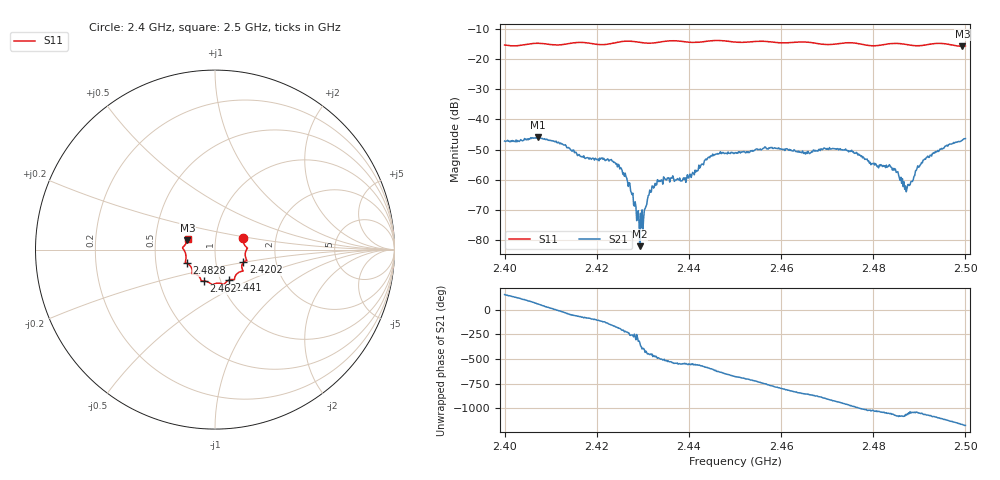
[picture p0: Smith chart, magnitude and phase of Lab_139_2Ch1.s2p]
# Hz S RI R 50
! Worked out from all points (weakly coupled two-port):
!   601 points, 2.4 GHz to 2.5 GHz, reference 50 ohm
!   highest |S21| = -45.99 dB at 2.4072 GHz (marker M1); lowest = -81.9 dB at 2.4293 GHz (marker M2)
!   lowest |S11| = -15.8 dB at 2.4993 GHz (marker M3), VSWR 1.39, Z = 36.5 + j3.85 ohm
!   |S11| at or under -10 dB: start of sweep to end of sweep
!   S12 and S22 are empty: the file has one direction only
!   S11 on the Smith chart (normalised r, x): 2.4 GHz: 1.36, +0.17; 2.4202 GHz: 1.36, -0.20; 2.441 GHz: 1.10, -0.39; 2.462 GHz: 0.84, -0.30; 2.4828 GHz: 0.72, -0.11; 2.5 GHz: 0.73, +0.09
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2.4e9  0.1581 0.0623  -0.00395 0.00188  0 0  0 0
2.407167e9  0.181 0.00912  0.00254 0.00433  0 0  0 0
2.416667e9  0.1773 -0.0608  0.000602 -0.00234  0 0  0 0
2.420167e9  0.1581 -0.0712  -0.000645 -0.00204  0 0  0 0
2.425167e9  0.1545 -0.1147  -0.00155 0.000394  0 0  0 0
2.426667e9  0.1566 -0.1188  -0.000629 0.000705  0 0  0 0
2.429333e9  0.1429 -0.122  7.02e-05 3.86e-05  0 0  0 0
2.429833e9  0.1381 -0.1238  0.000251 -0.000197  0 0  0 0
2.431667e9  0.121 -0.136  8.95e-06 -0.000622  0 0  0 0
2.433333e9  0.1114 -0.1511  -0.000569 -0.000745  0 0  0 0
2.441e9  0.0786 -0.1698  -0.00119 0.00042  0 0  0 0
2.444667e9  0.0533 -0.1917  -0.00124 0.00214  0 0  0 0
2.45e9  0.0281 -0.1876  0.00216 0.00181  0 0  0 0
2.462e9  -0.0606 -0.1756  -0.000751 -0.00297  0 0  0 0
2.466667e9  -0.0787 -0.1681  -0.00244 -0.00167  0 0  0 0
2.474e9  -0.1257 -0.1349  -0.00166 0.00278  0 0  0 0
2.482833e9  -0.1572 -0.0766  0.00144 0.000997  0 0  0 0
2.483333e9  -0.1605 -0.0753  0.00145 0.000824  0 0  0 0
2.487333e9  -0.1626 -0.0569  0.000675 0.000244  0 0  0 0
2.491333e9  -0.1696 -0.00774  0.00209 0.000646  0 0  0 0
2.499333e9  -0.1537 0.0514  0.000424 -0.00452  0 0  0 0
2.5e9  -0.1519 0.0608  -0.000431 -0.00478  0 0  0 0
